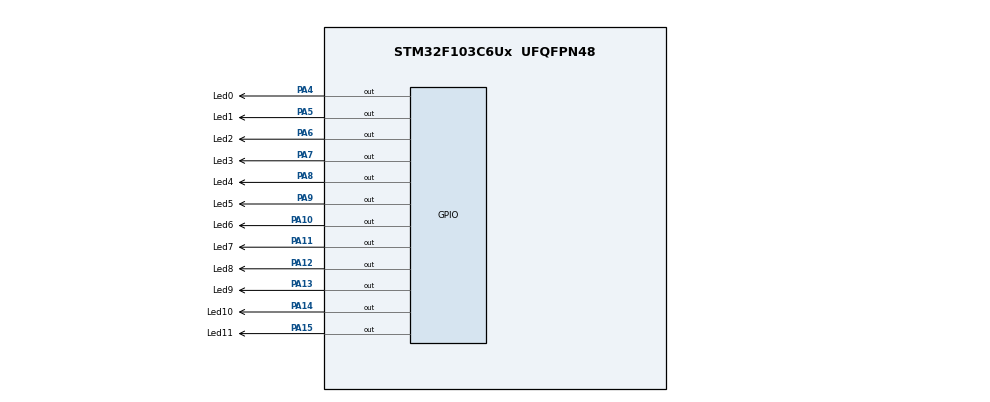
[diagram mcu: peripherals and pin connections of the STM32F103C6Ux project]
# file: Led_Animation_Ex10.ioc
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Mcu.Family=STM32F1
Mcu.Name=STM32F103C6Ux
Mcu.Package=UFQFPN48
NVIC.PriorityGroup=NVIC_PRIORITYGROUP_4
PA10.GPIO_Label=Led6
PA10.Signal=GPIO_Output
PA11.GPIO_Label=Led7
PA11.Signal=GPIO_Output
PA12.GPIO_Label=Led8
PA12.Signal=GPIO_Output
PA13.GPIO_Label=Led9
PA13.Signal=GPIO_Output
PA14.GPIO_Label=Led10
PA14.Signal=GPIO_Output
PA15.GPIO_Label=Led11
PA15.Signal=GPIO_Output
PA4.GPIO_Label=Led0
PA4.Signal=GPIO_Output
PA5.GPIO_Label=Led1
PA5.Signal=GPIO_Output
PA6.GPIO_Label=Led2
PA6.Signal=GPIO_Output
PA7.GPIO_Label=Led3
PA7.Signal=GPIO_Output
PA8.GPIO_Label=Led4
PA8.Signal=GPIO_Output
PA9.GPIO_Label=Led5
PA9.Signal=GPIO_Output
PC14-OSC32_IN.Mode=LSE-External-Oscillator
PC14-OSC32_IN.Signal=RCC_OSC32_IN
PC15-OSC32_OUT.Mode=LSE-External-Oscillator
PC15-OSC32_OUT.Signal=RCC_OSC32_OUT
PD0-OSC_IN.Mode=HSE-External-Oscillator
PD0-OSC_IN.Signal=RCC_OSC_IN
PD1-OSC_OUT.Mode=HSE-External-Oscillator
PD1-OSC_OUT.Signal=RCC_OSC_OUT
ProjectManager.HeapSize=0x200
ProjectManager.StackSize=0x400
ProjectManager.TargetToolchain=STM32CubeIDE
RCC.APB1Freq_Value=8000000
RCC.APB2Freq_Value=8000000
VP_SYS_VS_ND.Mode=No_Debug
board=custom

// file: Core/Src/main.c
/* USER CODE BEGIN Header */
/**
  ******************************************************************************
  * @file           : main.c
  * @brief          : Main program body
  ******************************************************************************
  * @attention
  *
  * <h2><center>&copy; Copyright (c) 2025 STMicroelectronics.
  * All rights reserved.</center></h2>
  *
  * This software component is licensed by ST under BSD 3-Clause license,
  * the "License"; You may not use this file except in compliance with the
  * License. You may obtain a copy of the License at:
  *                        opensource.org/licenses/BSD-3-Clause
  *
  ******************************************************************************
  */
/* USER CODE END Header */
#include "main.h"

/* USER CODE BEGIN PV */
uint8_t second_counter = 0;
uint8_t munite_counter = 0;
uint8_t hour_counter = 0;

/* USER CODE END PV */

void SystemClock_Config(void);
static void MX_GPIO_Init(void);

/* USER CODE BEGIN 0 */
void setNumberOnClock(int num){
	HAL_GPIO_WritePin(GPIOA, Led0_Pin << num, GPIO_PIN_RESET);
}

void clearNumberOnClock(int num){
	HAL_GPIO_WritePin(GPIOA, Led0_Pin << num, GPIO_PIN_SET);
}

void clearALLClock(){
	for(int i = 0; i < 12; ++i){
		HAL_GPIO_WritePin(GPIOA, Led0_Pin << i, GPIO_PIN_SET);
	}
}
/* USER CODE END 0 */

int main(void)
{

  /* MCU Configuration--------------------------------------------------------*/

  /* Reset of all peripherals, Initializes the Flash interface and the Systick. */
  HAL_Init();

  /* Configure the system clock */
  SystemClock_Config();

  /* Initialize all configured peripherals */
  MX_GPIO_Init();

  /* Infinite loop */
  /* USER CODE BEGIN WHILE */
  while (1)
  {
	 // Checking timme_boundary
	 if(second_counter >= 60){
		 second_counter = 0;
		 munite_counter++;
		 if(munite_counter >= 60){
			 munite_counter = 0;
			 hour_counter++;
			 if(hour_counter >= 12){
				 hour_counter = 0;
			 }
		 }
	 }

	 clearALLClock();
	 setNumberOnClock(second_counter/5);
	 setNumberOnClock(munite_counter/5);
	 setNumberOnClock(hour_counter);

	 second_counter++;
	 HAL_Delay(1000);

    /* USER CODE END WHILE */

  }
}

void SystemClock_Config(void)
{
  RCC_OscInitTypeDef RCC_OscInitStruct = {0};
  RCC_ClkInitTypeDef RCC_ClkInitStruct = {0};

  /** Initializes the RCC Oscillators according to the specified parameters
  * in the RCC_OscInitTypeDef structure.
  */
  RCC_OscInitStruct.OscillatorType = RCC_OSCILLATORTYPE_HSI;
  RCC_OscInitStruct.HSIState = RCC_HSI_ON;
  RCC_OscInitStruct.HSICalibrationValue = RCC_HSICALIBRATION_DEFAULT;
  RCC_OscInitStruct.PLL.PLLState = RCC_PLL_NONE;
  if (HAL_RCC_OscConfig(&RCC_OscInitStruct) != HAL_OK)
  {
    Error_Handler();
  }
  /** Initializes the CPU, AHB and APB buses clocks
  */
  RCC_ClkInitStruct.ClockType = RCC_CLOCKTYPE_HCLK|RCC_CLOCKTYPE_SYSCLK
                              |RCC_CLOCKTYPE_PCLK1|RCC_CLOCKTYPE_PCLK2;
  RCC_ClkInitStruct.SYSCLKSource = RCC_SYSCLKSOURCE_HSI;
  RCC_ClkInitStruct.AHBCLKDivider = RCC_SYSCLK_DIV1;
  RCC_ClkInitStruct.APB1CLKDivider = RCC_HCLK_DIV1;
  RCC_ClkInitStruct.APB2CLKDivider = RCC_HCLK_DIV1;

  if (HAL_RCC_ClockConfig(&RCC_ClkInitStruct, FLASH_LATENCY_0) != HAL_OK)
  {
    Error_Handler();
  }
}

static void MX_GPIO_Init(void)
{
  GPIO_InitTypeDef GPIO_InitStruct = {0};

  /* GPIO Ports Clock Enable */
  __HAL_RCC_GPIOC_CLK_ENABLE();
  __HAL_RCC_GPIOD_CLK_ENABLE();
  __HAL_RCC_GPIOA_CLK_ENABLE();

  /*Configure GPIO pin Output Level */
  HAL_GPIO_WritePin(GPIOA, Led0_Pin|Led1_Pin|Led2_Pin|Led3_Pin
                          |Led4_Pin|Led5_Pin|Led6_Pin|Led7_Pin
                          |Led8_Pin|Led9_Pin|Led10_Pin|Led11_Pin, GPIO_PIN_RESET);

  /*Configure GPIO pins : Led0_Pin Led1_Pin Led2_Pin Led3_Pin
                           Led4_Pin Led5_Pin Led6_Pin Led7_Pin
                           Led8_Pin Led9_Pin Led10_Pin Led11_Pin */
  GPIO_InitStruct.Pin = Led0_Pin|Led1_Pin|Led2_Pin|Led3_Pin
                          |Led4_Pin|Led5_Pin|Led6_Pin|Led7_Pin
                          |Led8_Pin|Led9_Pin|Led10_Pin|Led11_Pin;
  GPIO_InitStruct.Mode = GPIO_MODE_OUTPUT_PP;
  GPIO_InitStruct.Pull = GPIO_NOPULL;
  GPIO_InitStruct.Speed = GPIO_SPEED_FREQ_LOW;
  HAL_GPIO_Init(GPIOA, &GPIO_InitStruct);

}

void Error_Handler(void)
{
  __disable_irq();
  while (1)
  {
  }
}

/************************ (C) COPYRIGHT STMicroelectronics *****END OF FILE****/
